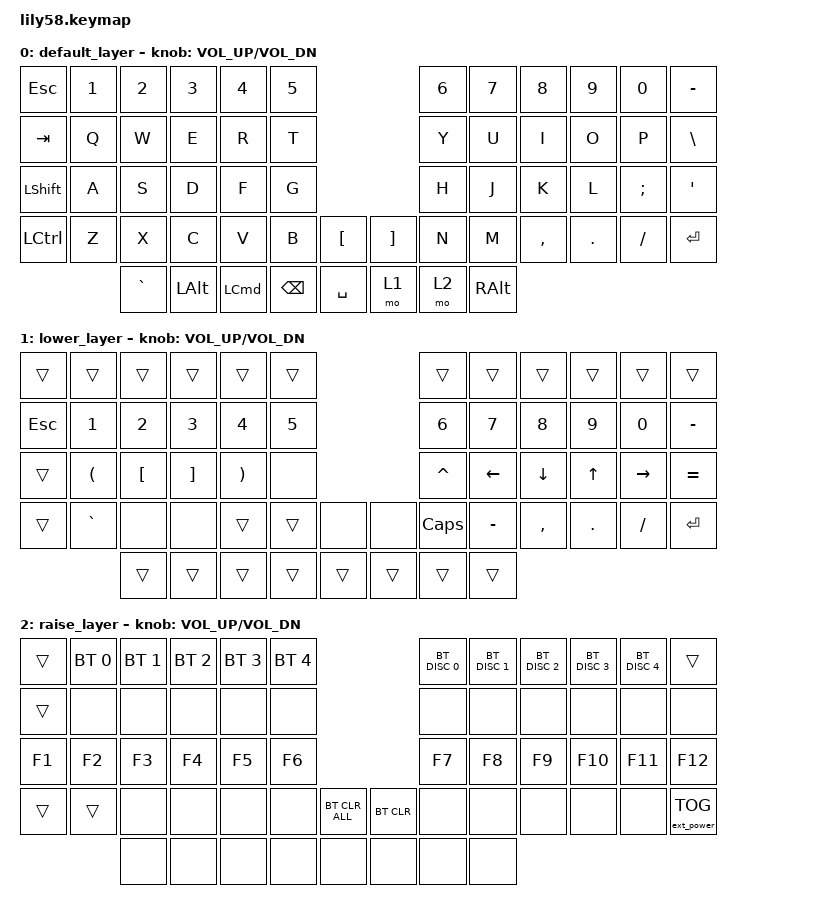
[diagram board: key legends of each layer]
/*
 * Copyright (c) 2020 The ZMK Contributors
 *
 * SPDX-License-Identifier: MIT
 */

#include <behaviors.dtsi>
#include <dt-bindings/zmk/keys.h>
#include <dt-bindings/zmk/bt.h>
#include <dt-bindings/zmk/ext_power.h>

/ {
    keymap {
        compatible = "zmk,keymap";

        default_layer {
// ------------------------------------------------------------------------------------------------------------
// |  ESC  |  1  |  2  |  3   |  4   |  5   |                   |  6   |  7    |  8    |  9   |   0   |   `   |
// |  TAB  |  Q  |  W  |  E   |  R   |  T   |                   |  Y   |  U    |  I    |  O   |   P   |   -   |
// |  CTRL |  A  |  S  |  D   |  F   |  G   |                   |  H   |  J    |  K    |  L   |   ;   |   '   |
// | SHIFT |  Z  |  X  |  C   |  V   |  B   |   "["  |  |  "]"  |  N   |  M    |  ,    |  .   |   /   | SHIFT |
//                     | ALT  | GUI  | LOWER|  SPACE |  | ENTER | RAISE| BSPC  | GUI   |
            bindings = <
  &kp ESC         &kp N1   &kp N2      &kp N3        &kp N4            &kp N5                            &kp N6  &kp N7         &kp N8   &kp N9    &kp N0      &kp MINUS
  &kp TAB         &kp Q    &kp W       &kp E         &kp R             &kp T                             &kp Y   &kp U          &kp I    &kp O     &kp P  &kp BACKSLASH
&kp LSHFT         &kp A    &kp S       &kp D         &kp F             &kp G                             &kp H   &kp J          &kp K    &kp L  &kp SEMI        &kp SQT
&kp LEFT_CONTROL  &kp Z    &kp X       &kp C         &kp V             &kp B       &kp LBKT   &kp RBKT   &kp N   &kp M      &kp COMMA  &kp DOT  &kp FSLH        &kp RET
                           &kp GRAVE  &kp LEFT_ALT  &kp LEFT_COMMAND  &kp BACKSPACE  &kp SPACE   &mo 1   &mo 2  &kp RIGHT_ALT
            >;

            sensor-bindings = <&inc_dec_kp C_VOL_UP C_VOL_DN>;
        };

        lower_layer {
// ------------------------------------------------------------------------------------------------------------
// | BTCLR | BT1 | BT2 |  BT3 |  BT4 |  BT5 |                   |      |       |       |      |       |       |
// |  F1   |  F2 |  F3 |  F4  |  F5  |  F6  |                   |  F7  |  F8   |  F9   |  F10 |  F11  |  F12  |
// |   `   |  !  |  @  |  #   |  $   |  %   |                   |  ^   |  &    |  *    |  (   |   )   |   ~   |
// |       |     |     |      |      |      |        |  |       |      |  _    |  +    |  {   |   }   |  "|"  |
//                     |      |      |      |        |  |       |      |       |       |
            bindings = <
&trans    &trans      &trans     &trans     &trans     &trans                            &trans         &trans          &trans          &trans        &trans            &trans
&kp ESC   &kp N1      &kp N2     &kp N3     &kp N4     &kp N5                            &kp N6          &kp N7          &kp N8          &kp N9        &kp N0           &kp MINUS
&trans    &kp LPAR    &kp LBKT   &kp RBKT   &kp RPAR   &none                             &kp CARET       &kp LEFT_ARROW  &kp DOWN_ARROW  &kp UP_ARROW  &kp RIGHT_ARROW  &kp EQUAL
&trans    &kp GRAVE   &none      &none      &trans     &trans  &none   &none  &kp CAPSLOCK    &kp MINUS       &kp COMMA       &kp DOT       &kp SLASH        &kp ENTER
                                    &trans  &trans  &trans  &trans                   &trans  &trans  &trans  &trans
            >;

            sensor-bindings = <&inc_dec_kp C_VOL_UP C_VOL_DN>;
        };

        raise_layer {
// ------------------------------------------------------------------------------------------------------------
// |       |     |     |      |      |      |                   |      |       |       |      |       |       |
// |   `   |  1  |  2  |  3   |  4   |  5   |                   |  6   |   7   |   8   |  9   |   0   |       |
// |   F1  |  F2 |  F3 |  F4  |  F5  |  F6  |                   |      |   <-  |   v   |  ^   |  ->   |       |
// |   F7  |  F8 |  F9 |  F10 |  F11 |  F12 |        |  |       |  +   |   -   |   =   |  [   |   ]   |   \   |
//                     |      |      |      |        |  |       |      |       |       |
            bindings = <
&trans &bt BT_SEL 0     &bt BT_SEL 1      &bt BT_SEL 2      &bt BT_SEL 3 &bt BT_SEL 4                 &bt BT_DISC 0    &bt BT_DISC 1    &bt BT_DISC 2    &bt BT_DISC 3   &bt BT_DISC 4    &trans
&trans  &none   &none    &none   &none   &none                &none   &none   &none  &none  &none    &none
&kp F1  &kp F2   &kp F3  &kp F4  &kp F5  &kp F6              &kp F7  &kp F8 &kp F9 &kp F10  &kp F11 &kp F12
&trans  &trans   &none    &none   &none   &none  &bt BT_CLR_ALL  &bt BT_CLR  &none   &none   &none  &none  &none    &ext_power EP_TOG
                         &none  &none  &none  &none      &none  &none  &none  &none
            >;

            sensor-bindings = <&inc_dec_kp C_VOL_UP C_VOL_DN>;
        };
    };
};
